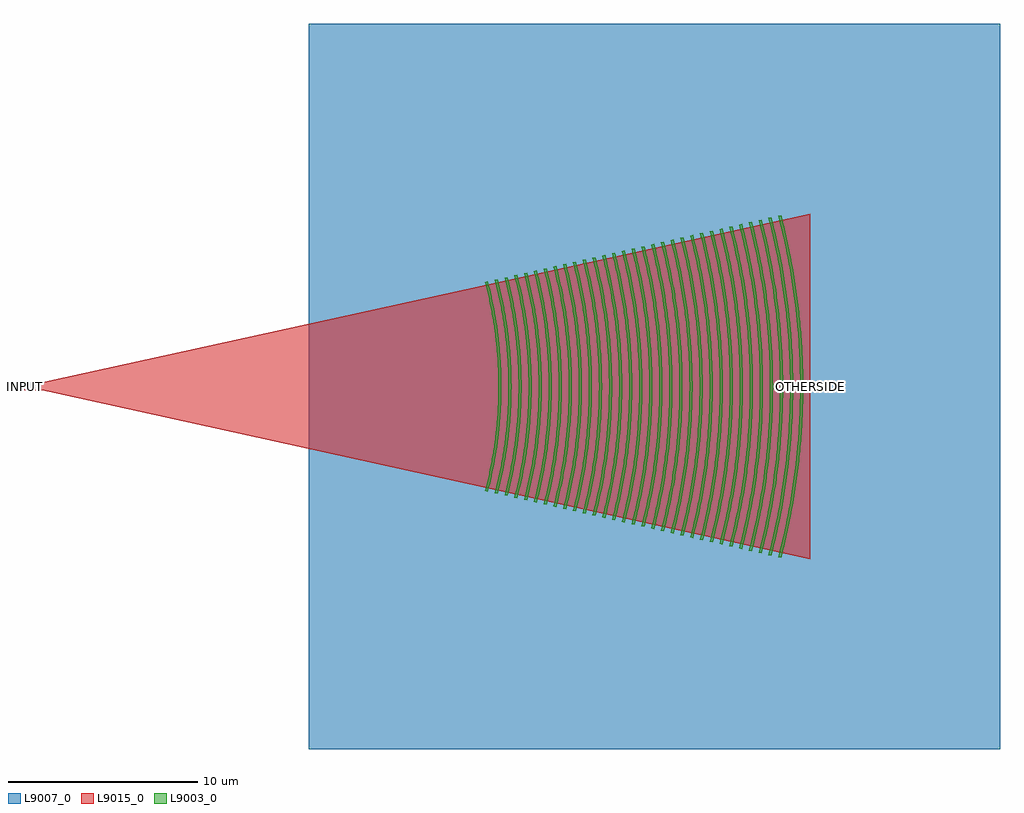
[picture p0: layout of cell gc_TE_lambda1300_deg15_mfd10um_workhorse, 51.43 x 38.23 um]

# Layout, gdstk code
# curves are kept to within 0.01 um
import gdstk
lib = gdstk.Library(unit=1e-6, precision=1e-09)
def R(c, l, rs):  # rectangles x0, y0, x1, y1
    for r in rs: c.add(gdstk.rectangle(r[:2], r[2:], *l))
def P(c, l, *ps):  # polygons
    for p in ps: c.add(gdstk.Polygon(p, *l))
L9003_0 = (9003, 0)
L9007_0 = (9007, 0)
L9015_0 = (9015, 0)

gc_te_lambda1300_deg15_m = lib.new_cell('gc_TE_lambda1300_deg15_mfd10um_workhorse')
P(gc_te_lambda1300_deg15_m, L9003_0, [(24.475,-5.423),(24.636,-4.752),(24.816,-3.858),(25.014,-2.516),(25.121,-1.286),(25.147,-0.727),(25.159,0.056),(25,0.056),(24.988,-0.722),(24.956,-1.389),(24.892,-2.167),(24.829,-2.722),(24.734,-3.389),(24.618,-4.056),(24.455,-4.833),(24.292,-5.5),(24.446,-5.535)],
  [(25.157,0.28),(25.143,0.839),(25.099,1.621),(25.05,2.18),(24.957,2.963),(24.855,3.634),(24.731,4.305),(24.446,5.535),(24.292,5.5),(24.455,4.833),(24.618,4.056),(24.734,3.389),(24.829,2.722),(24.892,2.167),(24.956,1.389),(25,0.056),(25.159,0.056)],
  [(24.991,-5.537),(25.155,-4.852),(25.318,-4.053),(25.513,-2.797),(25.636,-1.541),(25.677,-0.742),(25.689,0.057),(25.53,0.057),(25.518,-0.738),(25.492,-1.305),(25.441,-1.986),(25.355,-2.78),(25.276,-3.347),(25.14,-4.142),(24.999,-4.822),(24.807,-5.617),(24.961,-5.652)],
  [(25.687,0.285),(25.663,1.085),(25.619,1.77),(25.483,3.026),(25.359,3.825),(25.252,4.396),(24.961,5.652),(24.807,5.617),(24.999,4.822),(25.14,4.142),(25.276,3.347),(25.355,2.78),(25.441,1.986),(25.485,1.418),(25.518,0.738),(25.53,0.057),(25.689,0.057)],
  [(25.506,-5.652),(25.674,-4.952),(25.84,-4.137),(25.958,-3.438),(26.054,-2.738),(26.117,-2.156),(26.18,-1.34),(26.21,-0.641),(26.219,0.058),(26.06,0.058),(26.051,-0.637),(26.021,-1.332),(25.969,-2.027),(25.896,-2.722),(25.782,-3.533),(25.662,-4.228),(25.492,-5.038),(25.322,-5.733),(25.476,-5.768)],
  [(26.218,0.175),(26.202,0.874),(26.165,1.573),(26.117,2.156),(26.009,3.088),(25.796,4.37),(25.621,5.186),(25.476,5.768),(25.322,5.733),(25.492,5.038),(25.662,4.228),(25.851,3.069),(25.947,2.259),(26.006,1.564),(26.039,0.984),(26.06,0.058),(26.219,0.058)],
  [(26.022,-5.766),(26.193,-5.053),(26.34,-4.339),(26.483,-3.507),(26.566,-2.913),(26.645,-2.199),(26.709,-1.367),(26.74,-0.654),(26.749,0.059),(26.59,0.059),(26.581,-0.65),(26.543,-1.477),(26.475,-2.304),(26.408,-2.895),(26.288,-3.723),(26.161,-4.432),(26.037,-5.023),(25.837,-5.85),(25.991,-5.885)],
  [(26.747,0.297),(26.722,1.129),(26.676,1.843),(26.608,2.556),(26.518,3.269),(26.317,4.458),(26.193,5.053),(25.991,5.885),(25.837,5.85),(26.037,5.023),(26.161,4.432),(26.288,3.723),(26.408,2.895),(26.475,2.304),(26.543,1.477),(26.581,0.65),(26.59,0.059),(26.749,0.059)],
  [(26.568,-5.759),(26.712,-5.153),(26.885,-4.304),(26.989,-3.698),(27.107,-2.849),(27.184,-2.122),(27.238,-1.394),(27.27,-0.667),(27.279,0.06),(27.12,0.06),(27.111,-0.663),(27.072,-1.507),(27.014,-2.23),(26.934,-2.953),(26.812,-3.797),(26.682,-4.52),(26.529,-5.243),(26.352,-5.966),(26.506,-6.001)],
  [(27.279,0.061),(27.238,1.394),(27.173,2.243),(27.092,2.97),(26.989,3.698),(26.862,4.425),(26.712,5.153),(26.506,6.001),(26.352,5.966),(26.529,5.243),(26.682,4.52),(26.812,3.797),(26.934,2.953),(27.014,2.23),(27.072,1.507),(27.111,0.663),(27.12,0.06)],
  [(27.053,-5.994),(27.231,-5.253),(27.384,-4.511),(27.513,-3.77),(27.634,-2.904),(27.76,-1.545),(27.796,-0.803),(27.809,0.061),(27.65,0.061),(27.637,-0.799),(27.601,-1.536),(27.53,-2.396),(27.445,-3.134),(27.336,-3.871),(27.179,-4.731),(27.019,-5.469),(26.867,-6.083),(27.021,-6.118)],
  [(27.809,0.062),(27.796,0.803),(27.76,1.545),(27.676,2.534),(27.586,3.275),(27.36,4.635),(27.203,5.376),(27.021,6.118),(26.867,6.083),(27.019,5.469),(27.179,4.731),(27.336,3.871),(27.445,3.134),(27.53,2.396),(27.593,1.659),(27.637,0.799),(27.65,0.061)],
  [(27.569,-6.109),(27.75,-5.353),(27.906,-4.597),(28.057,-3.716),(28.145,-3.086),(28.216,-2.456),(28.289,-1.574),(28.329,-0.693),(28.339,0.063),(28.18,0.063),(28.174,-0.564),(28.13,-1.566),(28.058,-2.442),(27.971,-3.194),(27.86,-3.945),(27.725,-4.697),(27.566,-5.448),(27.382,-6.2),(27.536,-6.235)],
  [(28.337,0.315),(28.316,1.071),(28.271,1.826),(28.19,2.708),(28.112,3.338),(27.996,4.093),(27.831,4.975),(27.536,6.235),(27.382,6.2),(27.566,5.448),(27.725,4.697),(27.86,3.945),(27.971,3.194),(28.058,2.442),(28.13,1.566),(28.162,0.939),(28.18,0.063),(28.339,0.063)],
  [(28.117,-6.095),(28.297,-5.325),(28.452,-4.555),(28.582,-3.785),(28.687,-3.015),(28.768,-2.245),(28.826,-1.476),(28.859,-0.706),(28.869,0.064),(28.71,0.064),(28.7,-0.702),(28.659,-1.595),(28.598,-2.361),(28.497,-3.254),(28.363,-4.147),(28.221,-4.913),(28.055,-5.678),(27.897,-6.316),(28.051,-6.351)],
  [(28.868,0.192),(28.851,0.962),(28.818,1.604),(28.744,2.502),(28.655,3.272),(28.541,4.042),(28.403,4.812),(28.24,5.581),(28.051,6.351),(27.897,6.316),(28.055,5.678),(28.221,4.913),(28.363,4.147),(28.497,3.254),(28.598,2.361),(28.659,1.595),(28.692,0.957),(28.71,0.064),(28.869,0.064)],
  [(28.6,-6.337),(28.788,-5.553),(28.974,-4.639),(29.106,-3.855),(29.214,-3.071),(29.308,-2.156),(29.355,-1.503),(29.389,-0.719),(29.399,0.065),(29.24,0.065),(29.226,-0.845),(29.188,-1.624),(29.126,-2.404),(29.04,-3.184),(28.929,-3.964),(28.768,-4.873),(28.603,-5.653),(28.412,-6.433),(28.566,-6.468)],
  [(29.397,0.327),(29.375,1.111),(29.329,1.895),(29.181,3.332),(29.065,4.116),(28.924,4.9),(28.788,5.553),(28.566,6.468),(28.412,6.433),(28.603,5.653),(28.768,4.873),(28.929,3.964),(29.04,3.184),(29.126,2.404),(29.188,1.624),(29.226,0.845),(29.24,0.065),(29.399,0.065)],
  [(29.149,-6.318),(29.446,-4.988),(29.589,-4.19),(29.724,-3.259),(29.825,-2.328),(29.876,-1.663),(29.915,-0.865),(29.929,0.066),(29.77,0.066),(29.756,-0.86),(29.717,-1.654),(29.654,-2.448),(29.566,-3.242),(29.474,-3.903),(29.315,-4.829),(29.121,-5.756),(28.926,-6.549),(29.081,-6.584)],
  [(29.929,0.067),(29.915,0.865),(29.876,1.663),(29.825,2.328),(29.707,3.392),(29.589,4.19),(29.446,4.988),(29.277,5.786),(29.081,6.584),(28.926,6.549),(29.121,5.756),(29.289,4.962),(29.432,4.168),(29.549,3.374),(29.654,2.448),(29.717,1.654),(29.756,0.86),(29.77,0.066)],
  [(29.631,-6.566),(29.826,-5.753),(30.019,-4.806),(30.156,-3.994),(30.267,-3.181),(30.353,-2.369),(30.413,-1.557),(30.449,-0.745),(30.459,0.067),(30.3,0.067),(30.29,-0.741),(30.246,-1.683),(30.169,-2.626),(30.075,-3.434),(29.956,-4.242),(29.811,-5.05),(29.67,-5.723),(29.441,-6.666),(29.596,-6.701)],
  [(30.459,0.068),(30.449,0.745),(30.396,1.828),(30.327,2.64),(30.233,3.452),(30.113,4.264),(29.967,5.076),(29.795,5.889),(29.596,6.701),(29.441,6.666),(29.67,5.723),(29.811,5.05),(29.956,4.242),(30.075,3.434),(30.169,2.626),(30.237,1.818),(30.281,1.01),(30.3,0.067)],
  [(30.147,-6.68),(30.345,-5.853),(30.489,-5.165),(30.637,-4.338),(30.777,-3.374),(30.855,-2.686),(30.934,-1.722),(30.974,-0.895),(30.989,0.069),(30.83,0.069),(30.823,-0.617),(30.784,-1.576),(30.71,-2.535),(30.619,-3.357),(30.502,-4.179),(30.359,-5.001),(30.189,-5.823),(29.956,-6.783),(30.111,-6.818)],
  [(30.988,0.207),(30.964,1.171),(30.925,1.859),(30.855,2.686),(30.759,3.512),(30.637,4.338),(30.489,5.165),(30.282,6.129),(30.111,6.818),(29.956,6.783),(30.189,5.823),(30.359,5.001),(30.502,4.179),(30.619,3.357),(30.71,2.535),(30.784,1.576),(30.815,0.891),(30.83,0.069),(30.989,0.069)],
  [(30.698,-6.654),(30.864,-5.954),(31.037,-5.113),(31.161,-4.413),(31.303,-3.432),(31.396,-2.592),(31.472,-1.611),(31.512,-0.63),(31.519,0.07),(31.36,0.07),(31.353,-0.627),(31.313,-1.603),(31.251,-2.439),(31.145,-3.415),(31.004,-4.39),(30.854,-5.227),(30.708,-5.924),(30.471,-6.899),(30.626,-6.934)],
  [(31.517,0.35),(31.499,1.051),(31.454,1.891),(31.368,2.872),(31.285,3.572),(31.161,4.413),(31.01,5.253),(30.864,5.954),(30.626,6.934),(30.471,6.899),(30.708,5.924),(30.854,5.227),(31.004,4.39),(31.127,3.554),(31.224,2.718),(31.295,1.882),(31.345,0.906),(31.36,0.07),(31.519,0.07)],
  [(31.178,-6.908),(31.414,-5.911),(31.586,-5.057),(31.73,-4.202),(31.847,-3.347),(31.95,-2.35),(32.001,-1.638),(32.034,-0.926),(32.049,0.071),(31.89,0.071),(31.87,-1.063),(31.814,-2.055),(31.722,-3.047),(31.594,-4.039),(31.347,-5.457),(31.195,-6.165),(30.986,-7.016),(31.141,-7.051)],
  [(32.048,0.214),(32.034,0.926),(31.992,1.78),(31.924,2.635),(31.811,3.632),(31.685,4.487),(31.531,5.342),(31.35,6.196),(31.141,7.051),(30.986,7.016),(31.195,6.165),(31.375,5.315),(31.528,4.465),(31.653,3.614),(31.752,2.764),(31.824,1.913),(31.87,1.063),(31.89,0.071),(32.049,0.071)],
  [(31.693,-7.023),(31.869,-6.299),(32.081,-5.285),(32.255,-4.271),(32.374,-3.403),(32.452,-2.679),(32.53,-1.665),(32.568,-0.796),(32.579,0.072),(32.42,0.072),(32.409,-0.792),(32.353,-1.945),(32.265,-2.954),(32.119,-4.107),(31.978,-4.971),(31.839,-5.692),(31.501,-7.132),(31.656,-7.167)],
  [(32.577,0.362),(32.546,1.376),(32.501,2.1),(32.438,2.824),(32.337,3.692),(32.209,4.561),(32.053,5.43),(31.869,6.299),(31.656,7.167),(31.501,7.132),(31.746,6.124),(31.924,5.259),(32.075,4.395),(32.198,3.53),(32.265,2.954),(32.353,1.945),(32.399,1.081),(32.42,0.072),(32.579,0.072)],
  [(32.209,-7.137),(32.453,-6.107),(32.603,-5.371),(32.733,-4.635),(32.882,-3.605),(32.98,-2.722),(33.05,-1.839),(33.098,-0.809),(33.109,0.073),(32.95,0.073),(32.939,-0.805),(32.882,-1.977),(32.792,-3.002),(32.644,-4.174),(32.526,-4.906),(32.359,-5.785),(32.198,-6.517),(32.016,-7.249),(32.171,-7.284)],
  [(33.109,0.074),(33.098,0.809),(33.05,1.839),(32.98,2.722),(32.863,3.752),(32.733,4.635),(32.603,5.371),(32.387,6.401),(32.171,7.284),(32.016,7.249),(32.198,6.517),(32.359,5.785),(32.622,4.32),(32.76,3.295),(32.86,2.27),(32.923,1.245),(32.95,0.073)],
  [(32.725,-7.251),(32.906,-6.504),(33.125,-5.457),(33.281,-4.56),(33.427,-3.513),(33.522,-2.616),(33.597,-1.57),(33.631,-0.673),(33.639,0.074),(33.48,0.074),(33.459,-1.116),(33.4,-2.158),(33.287,-3.348),(33.147,-4.39),(32.88,-5.878),(32.716,-6.622),(32.531,-7.366),(32.686,-7.401)],
  [(33.639,0.075),(33.623,0.972),(33.579,1.869),(33.508,2.766),(33.389,3.812),(33.257,4.709),(33.096,5.607),(32.906,6.504),(32.686,7.401),(32.531,7.366),(32.716,6.622),(32.88,5.878),(33.147,4.39),(33.287,3.348),(33.4,2.158),(33.459,1.116),(33.48,0.074)],
  [(33.279,-7.213),(33.492,-6.302),(33.647,-5.543),(33.829,-4.48),(33.954,-3.569),(34.05,-2.658),(34.118,-1.746),(34.153,-0.987),(34.169,0.076),(34.01,0.076),(33.994,-0.983),(33.929,-2.192),(33.831,-3.25),(33.694,-4.308),(33.573,-5.064),(33.4,-5.971),(33.234,-6.726),(33.046,-7.482),(33.201,-7.517)],
  [(34.167,0.38),(34.141,1.291),(34.087,2.202),(33.989,3.265),(33.895,4.024),(33.756,4.936),(33.587,5.847),(33.389,6.758),(33.201,7.517),(33.046,7.482),(33.269,6.575),(33.49,5.517),(33.694,4.308),(33.831,3.25),(33.959,1.738),(33.994,0.983),(34.01,0.076),(34.169,0.076)],
  [(33.756,-7.48),(33.943,-6.708),(34.139,-5.783),(34.305,-4.858),(34.461,-3.778),(34.564,-2.853),(34.647,-1.774),(34.687,-0.848),(34.699,0.077),(34.54,0.077),(34.518,-1.151),(34.457,-2.226),(34.358,-3.3),(34.219,-4.375),(34.096,-5.143),(33.921,-6.064),(33.752,-6.831),(33.561,-7.599),(33.716,-7.634)],
  [(34.698,0.231),(34.677,1.157),(34.627,2.082),(34.549,3.007),(34.441,3.933),(34.305,4.858),(34.139,5.783),(33.943,6.708),(33.716,7.634),(33.561,7.599),(33.822,6.524),(34.041,5.45),(34.219,4.375),(34.358,3.3),(34.433,2.533),(34.497,1.612),(34.54,0.077),(34.699,0.077)],
  [(34.271,-7.594),(34.531,-6.498),(34.72,-5.558),(34.902,-4.462),(35.007,-3.679),(35.092,-2.897),(35.176,-1.801),(35.217,-0.861),(35.229,0.078),(35.07,0.078),(35.048,-1.169),(34.986,-2.26),(34.885,-3.351),(34.721,-4.598),(34.441,-6.157),(34.233,-7.092),(34.076,-7.715),(34.231,-7.75)],
  [(35.228,0.235),(35.212,1.018),(35.156,2.114),(35.092,2.897),(34.967,3.993),(34.829,4.932),(34.66,5.872),(34.461,6.811),(34.231,7.75),(34.076,7.715),(34.341,6.624),(34.563,5.533),(34.721,4.598),(34.885,3.351),(34.974,2.416),(35.026,1.637),(35.07,0.078),(35.229,0.078)],
  [(34.787,-7.708),(35.015,-6.754),(35.182,-5.96),(35.353,-5.006),(35.514,-3.894),(35.634,-2.781),(35.705,-1.828),(35.747,-0.874),(35.759,0.079),(35.6,0.079),(35.583,-1.028),(35.515,-2.294),(35.412,-3.402),(35.269,-4.509),(35.114,-5.459),(34.962,-6.25),(34.75,-7.199),(34.591,-7.832),(34.746,-7.867)],
  [(35.758,0.238),(35.73,1.351),(35.685,2.146),(35.588,3.258),(35.472,4.212),(35.353,5.006),(35.182,5.96),(34.943,7.072),(34.746,7.867),(34.591,7.832),(34.86,6.724),(35.056,5.775),(35.269,4.509),(35.412,3.402),(35.49,2.611),(35.555,1.661),(35.588,0.87),(35.6,0.079),(35.759,0.079)],
  [(35.303,-7.822),(35.534,-6.855),(35.734,-5.887),(35.903,-4.919),(36.04,-3.951),(36.162,-2.822),(36.234,-1.855),(36.277,-0.887),(36.289,0.08),(36.13,0.08),(36.113,-1.044),(36.055,-2.168),(35.957,-3.292),(35.818,-4.416),(35.693,-5.219),(35.515,-6.182),(35.305,-7.146),(35.106,-7.949),(35.261,-7.984)],
  [(36.289,0.081),(36.272,1.048),(36.214,2.177),(36.132,3.145),(36.019,4.113),(35.877,5.08),(35.703,6.048),(35.498,7.016),(35.261,7.984),(35.106,7.949),(35.305,7.146),(35.482,6.343),(35.637,5.54),(35.77,4.737),(35.921,3.613),(36.031,2.489),(36.107,1.204),(36.13,0.08)],
  [(35.818,-7.937),(36.053,-6.955),(36.256,-5.973),(36.427,-4.991),(36.567,-4.009),(36.675,-3.027),(36.764,-1.882),(36.811,-0.736),(36.819,0.081),(36.66,0.081),(36.637,-1.222),(36.584,-2.2),(36.467,-3.503),(36.343,-4.481),(36.216,-5.295),(36.036,-6.273),(35.861,-7.088),(35.621,-8.065),(35.776,-8.1)],
  [(36.819,0.082),(36.801,1.064),(36.764,1.882),(36.675,3.027),(36.567,4.009),(36.427,4.991),(36.256,5.973),(36.053,6.955),(35.776,8.1),(35.621,8.065),(35.823,7.251),(36.003,6.436),(36.16,5.621),(36.295,4.807),(36.467,3.503),(36.56,2.525),(36.637,1.222),(36.66,0.081)],
  [(36.334,-8.051),(36.535,-7.221),(36.778,-6.059),(36.925,-5.229),(37.093,-4.067),(37.219,-2.905),(37.283,-2.075),(37.331,-1.079),(37.349,0.083),(37.19,0.083),(37.172,-1.074),(37.101,-2.397),(36.994,-3.554),(36.82,-4.876),(36.712,-5.537),(36.523,-6.529),(36.341,-7.355),(36.136,-8.182),(36.291,-8.217)],
  [(37.348,0.249),(37.325,1.245),(37.26,2.407),(37.17,3.403),(37.049,4.399),(36.925,5.229),(36.746,6.225),(36.535,7.221),(36.291,8.217),(36.136,8.182),(36.417,7.025),(36.652,5.868),(36.82,4.876),(36.994,3.554),(37.075,2.727),(37.134,1.901),(37.172,1.074),(37.19,0.083),(37.349,0.083)],
  [(36.892,-7.997),(37.091,-7.155),(37.3,-6.145),(37.476,-5.135),(37.64,-3.956),(37.747,-2.946),(37.822,-1.936),(37.866,-0.926),(37.879,0.084),(37.72,0.084),(37.702,-1.09),(37.63,-2.431),(37.521,-3.604),(37.37,-4.778),(37.235,-5.616),(37.078,-6.454),(36.898,-7.293),(36.651,-8.298),(36.806,-8.333)],
  [(37.878,0.253),(37.855,1.263),(37.812,2.104),(37.715,3.283),(37.598,4.293),(37.449,5.303),(37.234,6.482),(37.014,7.492),(36.806,8.333),(36.651,8.298),(36.936,7.125),(37.175,5.951),(37.37,4.778),(37.521,3.604),(37.617,2.598),(37.673,1.76),(37.707,0.922),(37.72,0.084),(37.879,0.084)],
  [(37.365,-8.279),(37.572,-7.426),(37.822,-6.231),(38,-5.207),(38.146,-4.182),(38.259,-3.158),(38.341,-2.134),(38.391,-1.11),(38.409,0.085),(38.25,0.085),(38.232,-1.105),(38.171,-2.295),(38.067,-3.485),(37.895,-4.845),(37.758,-5.695),(37.599,-6.545),(37.377,-7.565),(37.166,-8.415),(37.321,-8.45)],
  [(38.408,0.256),(38.391,1.11),(38.341,2.134),(38.259,3.158),(38.124,4.353),(37.973,5.377),(37.789,6.402),(37.572,7.426),(37.321,8.45),(37.166,8.415),(37.455,7.225),(37.697,6.035),(37.895,4.845),(38.067,3.485),(38.145,2.635),(38.202,1.785),(38.237,0.935),(38.25,0.085),(38.409,0.085)],
  [(37.881,-8.394),(38.129,-7.355),(38.344,-6.317),(38.497,-5.451),(38.672,-4.24),(38.787,-3.202),(38.87,-2.163),(38.926,-0.952),(38.939,0.086),(38.78,0.086),(38.755,-1.293),(38.687,-2.499),(38.556,-3.878),(38.42,-4.912),(38.311,-5.602),(38.12,-6.636),(37.895,-7.67),(37.681,-8.532),(37.836,-8.567)],
  [(38.939,0.087),(38.926,0.952),(38.87,2.163),(38.787,3.202),(38.65,4.413),(38.497,5.451),(38.344,6.317),(38.09,7.528),(37.836,8.567),(37.681,8.532),(37.895,7.67),(38.12,6.636),(38.311,5.602),(38.42,4.912),(38.556,3.878),(38.687,2.499),(38.755,1.293),(38.78,0.086)],
  [(38.396,-8.508),(38.609,-7.631),(38.865,-6.403),(39.049,-5.35),(39.22,-4.122),(39.347,-2.894),(39.41,-2.017),(39.46,-0.789),(39.469,0.087),(39.31,0.087),(39.285,-1.31),(39.216,-2.533),(39.103,-3.756),(38.945,-4.979),(38.804,-5.853),(38.641,-6.726),(38.413,-7.775),(38.196,-8.648),(38.351,-8.683)],
  [(39.469,0.088),(39.45,1.14),(39.399,2.193),(39.298,3.421),(39.176,4.473),(39.021,5.526),(38.832,6.578),(38.609,7.631),(38.351,8.683),(38.196,8.648),(38.413,7.775),(38.605,6.901),(38.742,6.202),(38.919,5.154),(39.103,3.756),(39.216,2.533),(39.285,1.31),(39.31,0.087)],
  [(38.912,-8.622),(39.206,-7.378),(39.421,-6.311),(39.601,-5.244),(39.725,-4.355),(39.843,-3.289),(39.939,-2.044),(39.98,-1.156),(39.999,0.089),(39.84,0.089),(39.821,-1.151),(39.745,-2.567),(39.63,-3.807),(39.47,-5.046),(39.328,-5.932),(39.162,-6.817),(38.972,-7.702),(38.711,-8.765),(38.866,-8.8)],
  [(39.998,0.267),(39.98,1.156),(39.916,2.4),(39.826,3.467),(39.702,4.533),(39.515,5.778),(39.353,6.667),(39.127,7.733),(38.866,8.8),(38.711,8.765),(38.972,7.702),(39.264,6.286),(39.47,5.046),(39.63,3.807),(39.731,2.745),(39.79,1.859),(39.821,1.151),(39.84,0.089),(39.999,0.089)],
  [(39.473,-8.556),(39.726,-7.475),(39.943,-6.395),(40.125,-5.314),(40.295,-4.053),(40.403,-2.972),(40.468,-2.071),(40.51,-1.171),(40.529,0.09),(40.37,0.09),(40.351,-1.166),(40.286,-2.422),(40.157,-3.858),(39.995,-5.114),(39.851,-6.011),(39.683,-6.908),(39.49,-7.805),(39.226,-8.881),(39.381,-8.916)],
  [(40.528,0.27),(40.51,1.171),(40.445,2.432),(40.335,3.693),(40.228,4.593),(40.039,5.854),(39.875,6.755),(39.604,8.016),(39.381,8.916),(39.226,8.881),(39.49,7.805),(39.753,6.549),(39.968,5.293),(40.137,4.037),(40.245,2.96),(40.309,2.063),(40.351,1.166),(40.37,0.09),(40.529,0.09)],
  [(39.943,-8.85),(40.205,-7.756),(40.431,-6.661),(40.622,-5.566),(40.8,-4.288),(40.916,-3.193),(40.997,-2.099),(41.045,-1.004),(41.059,0.091),(40.9,0.091),(40.874,-1.363),(40.802,-2.636),(40.664,-4.09),(40.52,-5.181),(40.342,-6.271),(40.166,-7.18),(39.966,-8.089),(39.741,-8.998),(39.896,-9.033)],
  [(41.058,0.274),(41.033,1.369),(40.974,2.464),(40.881,3.558),(40.754,4.653),(40.622,5.566),(40.396,6.843),(40.164,7.938),(39.896,9.033),(39.741,8.998),(40.049,7.726),(40.275,6.635),(40.493,5.362),(40.664,4.09),(40.773,2.999),(40.849,1.909),(40.886,1),(40.9,0.091),(41.059,0.091)])
R(gc_te_lambda1300_deg15_m, L9007_0, [(15,-19.115,51.43,19.115)])
R(gc_te_lambda1300_deg15_m, L9015_0, [(0,-0.205,24,0.205)])
P(gc_te_lambda1300_deg15_m, L9015_0, [(0,0),(41.43,9.115),(41.43,-9.115)])
gc_te_lambda1300_deg15_m.add(gdstk.Label('INPUT', (0,0), layer=9015, texttype=9001))
gc_te_lambda1300_deg15_m.add(gdstk.Label('OTHERSIDE', (41.43,0), layer=9015, texttype=9001))
gc_te_lambda1300_deg15_m.add(gdstk.Label('GRATING_EDGE', (41.43,0), layer=9015, texttype=9001))
gc_te_lambda1300_deg15_m.add(gdstk.Label('sub!', (0,0), layer=61, texttype=31))

lib.write_gds('gc_TE_lambda1300_deg15_mfd10um_workhorse.gds')
